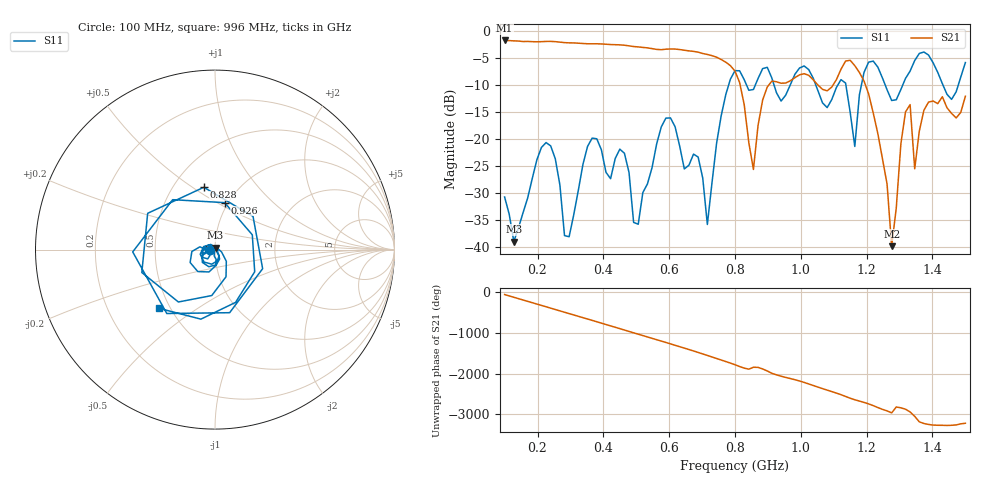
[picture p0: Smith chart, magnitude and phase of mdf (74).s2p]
! NanoVNA-App
! Date: 2025-09-25 15:39:00
! Start: 100MHz Stop: 1,5GHz Points: 101
! S-Parameter data: F S11 S21 S12 S22
# Hz S RI R 50
!  Frequency  S11_Real  S11_Imag  S21_Real  S21_Imag  S12_Real  S12_Imag  S22_Real  S22_Imag
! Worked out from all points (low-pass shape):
!   101 points, 100 MHz to 1.5 GHz, reference 50 ohm
!   highest |S21| = -1.80 dB at 100 MHz (marker M1); lowest = -39.9 dB at 1.276 GHz (marker M2)
!   |S21| within 3 dB of the highest: start of sweep to 739.4 MHz
!   lowest |S11| = -39.0 dB at 128 MHz (marker M3), VSWR 1.02, Z = 50.3 + j1.08 ohm
!   |S11| at or under -10 dB: start of sweep to 780.9 MHz; 918.4 MHz to 968.1 MHz (49.73 MHz wide, 5.27 % of centre); 1.045 GHz to 1.113 GHz (67.71 MHz wide, 6.27 % of centre)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
!   S12 and S22 are empty: the file has one direction only
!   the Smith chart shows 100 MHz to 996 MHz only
!   S11 on the Smith chart (normalised r, x): 100 MHz: 0.94, -0.01; 828 MHz: 0.70, +0.56; 926 MHz: 0.96, +0.54; 996 MHz: 0.44, -0.36
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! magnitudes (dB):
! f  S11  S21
! 100 MHz  -30.8  -1.8
! 128 MHz  -39.0  -1.9
! 212 MHz  -21.6  -2.0
! 282 MHz  -37.9  -2.2
! 338 MHz  -24.7  -2.4
! 464 MHz  -22.7  -2.7
! 506 MHz  -35.8  -3.0
! 576 MHz  -17.8  -3.5
! 716 MHz  -35.8  -4.4
! 800 MHz  -7.4  -7.5
! 828 MHz  -9.1  -13.7
! 856 MHz  -10.9  -25.7
! 926 MHz  -11.5  -9.4
! 996 MHz  -6.9  -8.2
! 1.038 GHz  -8.8  -9.1
! 1.136 GHz  -9.7  -5.6
! 1.164 GHz  -21.4  -6.5
! 1.192 GHz  -7.7  -9.3
! 1.276 GHz  -12.9  -39.9
! 1.318 GHz  -8.8  -15.0
! 1.346 GHz  -5.5  -25.5
! 1.5 GHz  -5.9  -12.1
